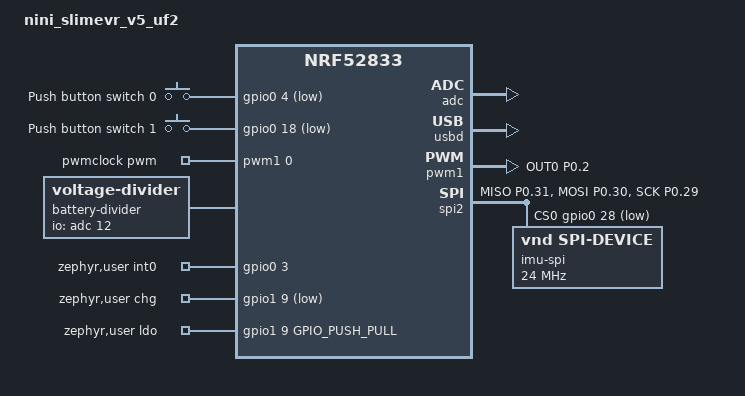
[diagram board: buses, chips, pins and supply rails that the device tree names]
// Copyright (c) 2024 Nordic Semiconductor ASA
// SPDX-License-Identifier: Apache-2.0

/dts-v1/;
#include <zephyr/dt-bindings/pinctrl/nrf-pinctrl.h>
#include <zephyr/dt-bindings/gpio/gpio.h>
#include <zephyr/dt-bindings/led/led.h>
#include <nordic/nrf52833_qdaa.dtsi>

//move to dtsi?


&pinctrl {
	spi2_default: spi2_default {
		group1 {
			psels = <NRF_PSEL(SPIM_MISO, 0, 31)>,
					<NRF_PSEL(SPIM_MOSI, 0, 30)>,
					<NRF_PSEL(SPIM_SCK, 0, 29)>;
		};
	};

	spi2_sleep: spi2_sleep {
		group1 {
			psels = <NRF_PSEL(SPIM_MISO, 0, 31)>,
					<NRF_PSEL(SPIM_MOSI, 0, 30)>,
					<NRF_PSEL(SPIM_SCK, 0, 29)>;
			low-power-enable;
		};
	};

	pwm1_default: pwm1_default {
		group1 {
			psels = <NRF_PSEL(PWM_OUT0, 0, 2)>;
		};
	};

	pwm1_sleep: pwm1_sleep {
		group1 {
			psels = <NRF_PIN_DISCONNECTED>;
			low-power-enable;
		};
	};

	
  	spi1_ws2812_default: spi1_ws2812_default {
    	group1 {
     	 psels = <NRF_PSEL(SPIM_MOSI, 0, 20)>;
    	};
	};

	spi1_ws2812_sleep: spi1_ws2812_sleep {
    	group1 {
      	psels = <NRF_PIN_DISCONNECTED>;
      	low-power-enable;
    	};
 	};
};

/ {
	model = "nini_slimevr_v5_uf2";
	compatible = "nini_slimevr_v5_uf2";

	chosen {
		zephyr,sram = &sram0;
		zephyr,flash = &flash0;
		zephyr,console = &cdc_acm_uart0;
		zephyr,shell-uart = &cdc_acm_uart0;
	};

	buttons {
		compatible = "gpio-keys";
		button0: button_0 {
			gpios = <&gpio0 4 (GPIO_PULL_UP | GPIO_ACTIVE_LOW)>;
			label = "Push button switch 0";
		};
		button1: button_1 {
			gpios = <&gpio0 18 (GPIO_PULL_UP | GPIO_ACTIVE_LOW)>;
			label = "Push button switch 1";
		};
	};

	aliases {
		sw0 = &button0;
		sw1 = &button1;
		led-strip = &led_strip; /* for the WS2812B LED strip */
	};

	pwmclock: pwmclock {
		compatible = "pwm-clock";
		#clock-cells = <1>;
		pwms = <&pwm1 0 PWM_HZ(32768) PWM_POLARITY_NORMAL>;
	};

	battery-divider {
		compatible = "voltage-divider";
		status = "okay";
		io-channels = <&adc 12>; /* Measure VDDHDIV5 */
		output-ohms = <1>;
		full-ohms = <5>;
	};

	zephyr,user {
		int0-gpios = <&gpio0 3 0>;
		chg-gpios = <&gpio1 9 (GPIO_ACTIVE_LOW | GPIO_PULL_UP)>;
		ldo-gpios = <&gpio1 9 GPIO_PUSH_PULL>;
		/* clk-gpios = <&gpio0 2 GPIO_OPEN_DRAIN>; */
	};
};

&reg1 {
	regulator-initial-mode = <NRF5X_REG_MODE_LDO>;
};

&adc {
	status = "okay";
};

&gpiote {
	status = "okay";
};

&gpio0 {
    status = "okay";
};

&gpio1 {
    status = "okay";
};

zephyr_udc0: &usbd {
	compatible = "nordic,nrf-usbd";
	status = "okay";
	cdc_acm_uart0: cdc_acm_uart0 {
		compatible = "zephyr,cdc-acm-uart";
	};
};

&nfct {
	status = "disabled";
};

&pwm1 {
	status = "okay";
	pinctrl-0 = <&pwm1_default>;
	pinctrl-1 = <&pwm1_sleep>;
	pinctrl-names = "default", "sleep";
};

&spi2 {
	status = "okay";
	compatible = "nordic,nrf-spim";
	pinctrl-0 = <&spi2_default>;
	pinctrl-1 = <&spi2_sleep>;
	pinctrl-names = "default", "sleep";
	cs-gpios = <&gpio0 28 GPIO_ACTIVE_LOW>;

	imu_spi: imu@0 {
		compatible = "vnd,spi-device";
		spi-max-frequency = <DT_FREQ_M(24)>;
		label = "imu-spi";
		reg = <0>;
	};
};


